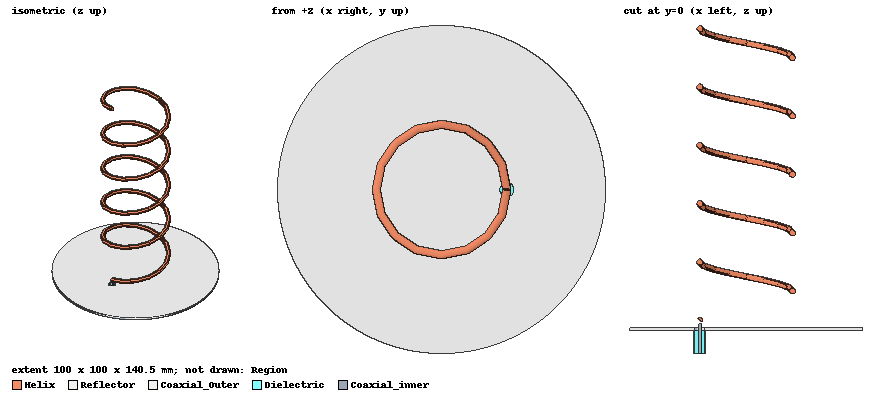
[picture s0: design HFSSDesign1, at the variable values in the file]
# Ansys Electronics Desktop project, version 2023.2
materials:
  vacuum: permittivity=1
  copper: permeability=0.999991 conductivity=58000000
  steel_1010: permittivity=1 permeability{HUnit=A_per_meter BUnit=tesla curve (0, 0) (238.7, 0.2003) (318.3, 0.3204) (358.1, 0.40045) (437.7, 0.50055) (477.5, 0.5606) (636.6, 0.7908) (795.8, 0.931) (1114.1, 1.1014) (1273.2, 1.2016) (1591.5, 1.302) (2228.2, 1.4028) (3183.1, 1.524) (4774.6, 1.626) (6366.2, 1.698) (7957.7, 1.73) (15915.5, 1.87) (31831, 1.99) (47746.5, 2.04) (63662, 2.07) (79577.5, 2.095) (159155, 2.2) (318310, 2.4)} conductivity=2000000 lande_g_factor=2
  steel_stainless: conductivity=1100000
  pec: conductivity=1e+30
  Dielectric: permittivity=2.1 dielectric_loss_tangent=0.00021
  air: permittivity=1.0006 permeability=1.0000004

design HFSSDesign1 (HFSS, HFSS Terminal Network, model units mm)
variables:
  lam0 = 125mm  # Lungimea de unda
  Dg = 100mm  # Diametrul planului de masa
  S = 25mm  # Spatiul dintre spire
  L = 150mm  # Inaltimea spirei
  Ln = 765mm  # Lungimea conductorului
  N = 5  # Numarul de spire
  t_g = 1mm  # Grosimea planului de masa
  a = 0.01*lam0  # Raza conductorului
  Di_c = 1.3mm  # Diametrul stratului interior al conectorului coaxial
  Do_c = 4.35mm  # Diametrul stratului exterior al conectorului coaxial
  C = lam0  # Circumferinta helix-ului
  t_oc = 0.5mm  # Grosimea stratului exterior al cablului coaxial
  Dh = C/pi  # Diametrul helix-ului
  Lf = 10mm  # Lungimea conectorului coaxial
  k = 2mm  # Distanta dintre alimentarea antenei si helix
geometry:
  Reflector [steel_stainless] = cylinder(axis=Z, base_centre=(0mm, 0mm, -t_g), radius=Dg/2, height=t_g)
  Helix [copper] = circle(normal=Y, centre=(Dh/2, 0mm, k+a), radius=a)
  Helix.helix(XCenter=0mm YCenter=0mm ZCenter=0mm XStartDir=0mm YStartDir=0mm ZStartDir=45mm NumThread=N RightHand=true RadiusIncrement=0mm Thread=S)
  Coaxial_Outer [pec] = cylinder(axis=Z, base_centre=(Dh/2, 0mm, -Lf-t_g), radius=Do_c/2+t_oc, height=Lf)
  Temp1 = cylinder(axis=Z, base_centre=(Dh/2, 0mm, -Lf-t_g), radius=Do_c/2, height=Lf+t_g)
  Temp1_1 = Temp1.copy()
  Coaxial_Outer.subtract(Temp1_1)
  Reflector.subtract(Temp1)
  Dielectric [Dielectric] = cylinder(axis=Z, base_centre=(Dh/2, 0mm, -Lf-t_g), radius=Do_c/2, height=Lf)
  Temp2 = cylinder(axis=Z, base_centre=(Dh/2, 0mm, -Lf-t_g), radius=Di_c/2, height=Lf)
  Dielectric.subtract(Temp2)
  Coaxial_inner [pec] = cylinder(axis=Z, base_centre=(Dh/2, 0mm, -Lf-t_g), radius=Di_c/2, height=Lf+t_g+k)
  Port = circle(normal=Z, centre=(Dh/2, 0mm, -Lf-t_g), radius=Do_c/2+t_oc)
  Region [air] = region(absolute_offset: +X=lam0/4, -X=lam0/4, +Y=lam0/4, -Y=lam0/4, +Z=lam0/4, -Z=0mm)
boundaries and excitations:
  Rad1: Radiation Objects=Region
  1: Wave Port Objects=Port WavePortType=Modal NumModes=1 Modes{Mode1{CharImp=Zpi}}
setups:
  Setup1: HfssDriven Frequency=2GHz MaxDeltaS=0.05 MaximumPasses=4 MinimumPasses=1 MinimumConvergedPasses=1 PercentRefinement=30 BasisOrder=1 PortAccuracy=2 DrivenSolverType="Direct Solver"
    sweep Sweep: 1GHz to 4GHz, 401 points; Type=Interpolating SaveFields InterpTolerance=0.5 InterpMaxSolns=250 PassivityErrorTolerance=0.0001
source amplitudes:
  1:1: 1V 0deg
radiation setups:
  Infinite Sphere1: Infinite Sphere Theta=0deg..360deg step 2deg Phi=0deg..360deg step 2deg
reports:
  Terminal S Parameter Plot 1: dB(St(1,1)) vs Freq on Setup1 : Sweep; markers MX1 at x=3.5776316e+09
